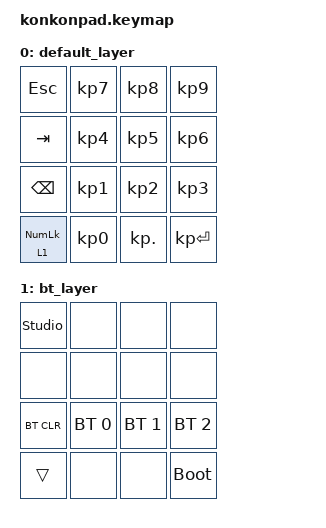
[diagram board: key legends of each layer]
#include <behaviors.dtsi>
#include <dt-bindings/zmk/keys.h>
#include <dt-bindings/zmk/bt.h>

/ {
  keymap {
    compatible = "zmk,keymap";

    default_layer {
      bindings = <
        &kp ESC         &kp KP_N7   &kp KP_N8   &kp KP_N9
        &kp TAB         &kp KP_N4   &kp KP_N5   &kp KP_N6
        &kp BSPC        &kp KP_N1   &kp KP_N2   &kp KP_N3
        &lt 1 KP_NUM    &kp KP_N0   &kp KP_DOT  &kp KP_ENTER
      >;
    };

    bt_layer {
      bindings = <
      &studio_unlock  &none           &none           &none
      &none           &none           &none           &none
      &bt BT_CLR      &bt BT_SEL 0    &bt BT_SEL 1    &bt BT_SEL 2
      &trans          &none           &none           &bootloader
      >;
    };
  };
};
